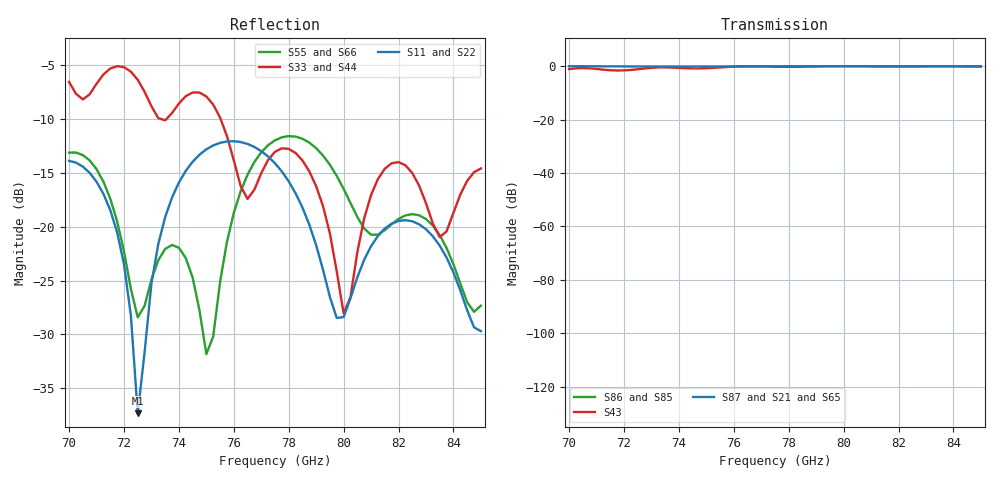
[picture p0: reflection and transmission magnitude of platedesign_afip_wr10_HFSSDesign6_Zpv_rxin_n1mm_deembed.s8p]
! Touchstone file exported from HFSS 2022.1.2
!  File:  /home/erdoel/scratch/AFiP/platedesign_afip_wr10.aedt
!  Generated:  7:34:06 PM  May 05, 2022
!  Design:  HFSSDesign6_Zpv
!  Project:  platedesign_afip_wr10
!  Setup:  Setup1
!  Solution:  Sweep
! Variables:
!  HL1 = 5.365mm
!  HL2 = 4.95mm
!  M25thread = 1.0335mm
!  M2thread = 0.7835mm
!  chm = 0.9mm
!  chm2 = 0.9mm
!  fil = 0.5mm
!  ht = 3.365mm
!  hwg = 1.27mm
!  mit = 5mm
!  mit2 = 14mm
!  rad2 = 0.785mm
!  radalign1 = 0.835mm
!  radbig = 1.08mm
!  rim = 500um
!  step = 50um
!  th1 = 29.1214718231584deg
!  thgap = 1.5mm
!  wwg = 2.54mm
!  x1 = 5.175mm
!  x2 = 4.55mm
!  xa = 20mm
!  xb1 = 30mm
!  xb2 = 9mm
!  xc = 3mm
!  y0 = 5.175mm
!  y1 = 4.55mm
!  y2 = 0
!  y3 = -5.175mm
!  ya = 15mm
!  yb = -21mm
!  yb1 = -8mm
!  ystep = 0.7mm
!Data is not renormalized
! Terminal data exported
! Port[1] = rx1in
! Port[2] = rx1out
! Port[3] = rx2in
! Port[4] = rx2out
! Port[5] = tx1in
! Port[6] = tx1out
! Port[7] = tx2in
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# GHz S MA
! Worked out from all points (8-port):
!   61 points, 70 GHz to 85 GHz, reference per port
!   strongest paths, dB at 70 GHz, 73.75 GHz, 77.5 GHz, 81.25 GHz, 85 GHz:
!     S87: 0.0, -0.1, 0.0, 0.0, 0.0
!     S21: -0.2, -0.1, -0.2, 0.0, 0.0
!     S65: -0.2, 0.0, -0.3, 0.0, 0.0
!     S43: -1.1, -0.5, -0.2, -0.1, -0.2
!     S86: -, -, -, -, -
!     S85: -, -, -, -, -
!   lowest |S11| = -37.3 dB at 72.5 GHz (marker M1), VSWR 1.03
!   |S11| at or under -10 dB: start of sweep to end of sweep
